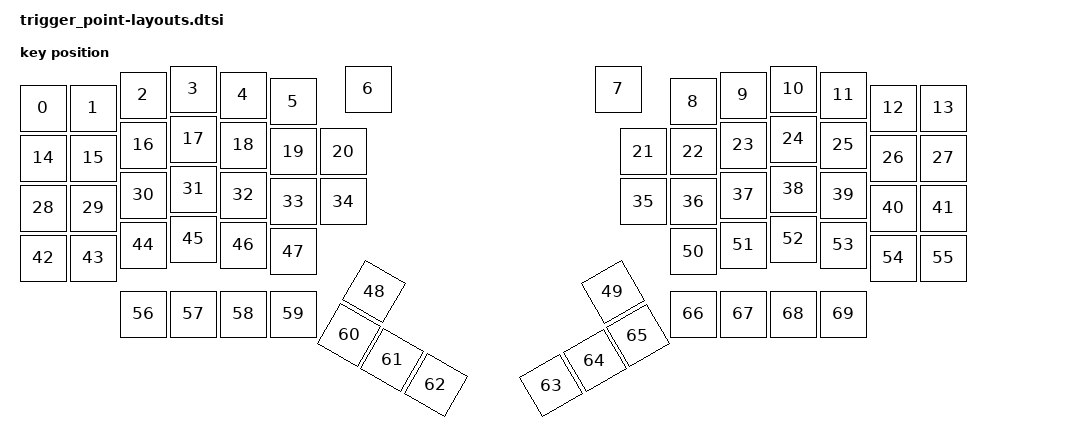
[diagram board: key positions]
#include <physical_layouts.dtsi>

/ {
    physical_layout_0: physical_layout_0 {
        compatible = "zmk,physical-layout";
        display-name = "Trigger Point";

        transform = <&default_transform>;

        keys  //                     w   h    x    y     rot    rx    ry
            = <&key_physical_attrs 100 100    0   38       0     0     0>
            , <&key_physical_attrs 100 100  100   38       0     0     0>
            , <&key_physical_attrs 100 100  200   12       0     0     0>
            , <&key_physical_attrs 100 100  300    0       0     0     0>
            , <&key_physical_attrs 100 100  400   12       0     0     0>
            , <&key_physical_attrs 100 100  500   25       0     0     0>
            , <&key_physical_attrs 100 100  650    0       0 (-50)   275>
            , <&key_physical_attrs 100 100 1150    0       0  1175  1200>
            , <&key_physical_attrs 100 100 1300   25       0     0     0>
            , <&key_physical_attrs 100 100 1400   12       0     0     0>
            , <&key_physical_attrs 100 100 1500    0       0     0     0>
            , <&key_physical_attrs 100 100 1600   12       0     0     0>
            , <&key_physical_attrs 100 100 1700   38       0     0     0>
            , <&key_physical_attrs 100 100 1800   38       0     0     0>
            , <&key_physical_attrs 100 100    0  138       0     0     0>
            , <&key_physical_attrs 100 100  100  138       0     0     0>
            , <&key_physical_attrs 100 100  200  112       0     0     0>
            , <&key_physical_attrs 100 100  300  100       0     0     0>
            , <&key_physical_attrs 100 100  400  112       0     0     0>
            , <&key_physical_attrs 100 100  500  125       0     0     0>
            , <&key_physical_attrs 100 100  600  125       0     0     0>
            , <&key_physical_attrs 100 100 1200  125       0     0     0>
            , <&key_physical_attrs 100 100 1300  125       0     0     0>
            , <&key_physical_attrs 100 100 1400  112       0     0     0>
            , <&key_physical_attrs 100 100 1500  100       0     0     0>
            , <&key_physical_attrs 100 100 1600  112       0     0     0>
            , <&key_physical_attrs 100 100 1700  138       0     0     0>
            , <&key_physical_attrs 100 100 1800  138       0     0     0>
            , <&key_physical_attrs 100 100    0  238       0     0     0>
            , <&key_physical_attrs 100 100  100  238       0     0     0>
            , <&key_physical_attrs 100 100  200  212       0     0     0>
            , <&key_physical_attrs 100 100  300  200       0     0     0>
            , <&key_physical_attrs 100 100  400  212       0     0     0>
            , <&key_physical_attrs 100 100  500  225       0     0     0>
            , <&key_physical_attrs 100 100  600  225       0     0     0>
            , <&key_physical_attrs 100 100 1200  225       0     0     0>
            , <&key_physical_attrs 100 100 1300  225       0     0     0>
            , <&key_physical_attrs 100 100 1400  212       0     0     0>
            , <&key_physical_attrs 100 100 1500  200       0     0     0>
            , <&key_physical_attrs 100 100 1600  212       0     0     0>
            , <&key_physical_attrs 100 100 1700  238       0     0     0>
            , <&key_physical_attrs 100 100 1800  238       0     0     0>
            , <&key_physical_attrs 100 100    0  338       0     0     0>
            , <&key_physical_attrs 100 100  100  338       0     0     0>
            , <&key_physical_attrs 100 100  200  312       0     0     0>
            , <&key_physical_attrs 100 100  300  300       0     0     0>
            , <&key_physical_attrs 100 100  400  312       0     0     0>
            , <&key_physical_attrs 100 100  500  325       0     0     0>
            , <&key_physical_attrs 100 100  650    0    3000 (-50)   275>
            , <&key_physical_attrs 100 100 1500  350 (-3000)  1475  1100>
            , <&key_physical_attrs 100 100 1300  325       0     0     0>
            , <&key_physical_attrs 100 100 1400  312       0     0     0>
            , <&key_physical_attrs 100 100 1500  300       0     0     0>
            , <&key_physical_attrs 100 100 1600  312       0     0     0>
            , <&key_physical_attrs 100 100 1700  338       0     0     0>
            , <&key_physical_attrs 100 100 1800  338       0     0     0>
            , <&key_physical_attrs 100 100  200  450       0     0     0>
            , <&key_physical_attrs 100 100  300  450       0     0     0>
            , <&key_physical_attrs 100 100  400  450       0     0     0>
            , <&key_physical_attrs 100 100  500  450       0     0     0>
            , <&key_physical_attrs 100 100  650  100    3000 (-50)   275>
            , <&key_physical_attrs 100 100  750  100    3000 (-50)   275>
            , <&key_physical_attrs 100 100  850  100    3000 (-50)   275>
            , <&key_physical_attrs 100 100 1300  450 (-3000)  1475  1100>
            , <&key_physical_attrs 100 100 1400  450 (-3000)  1475  1100>
            , <&key_physical_attrs 100 100 1500  450 (-3000)  1475  1100>
            , <&key_physical_attrs 100 100 1300  450       0     0     0>
            , <&key_physical_attrs 100 100 1400  450       0     0     0>
            , <&key_physical_attrs 100 100 1500  450       0     0     0>
            , <&key_physical_attrs 100 100 1600  450       0     0     0>
            ;
    };
};
